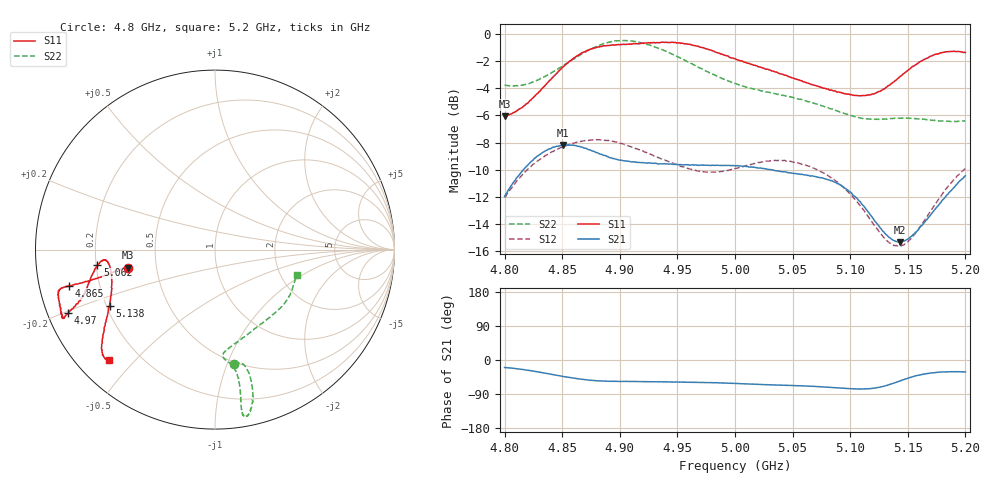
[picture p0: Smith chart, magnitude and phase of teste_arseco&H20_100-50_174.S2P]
! Network Analyzer HP8722D
! Hewlett-Packard
! Data name: Linha & Wilkinson
! Saver's name: Rodrigo Anjos
! Comments: Teste da utilização de aquisição
! continua pelo VNA HP8722D
! Time and date: 6/5/2025 14:01
!  Frequency  S11  S21  S12  S22
# HZ  S  MA R 50
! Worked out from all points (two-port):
!   401 points, 4.8 GHz to 5.2 GHz, reference 50 ohm
!   highest |S21| = -8.17 dB at 4.851 GHz (marker M1); lowest = -15.3 dB at 5.143 GHz (marker M2)
!   |S21| within 3 dB of the highest: 4.806 GHz to 5.092 GHz (286.5 MHz wide, 5.79 % of centre); 5.191477 GHz to end of sweep
!   lowest |S11| = -6.1 dB at 4.8 GHz (marker M3), VSWR 2.98, Z = 16.9 - j4.54 ohm
!   |S11| at or under -10 dB: nowhere
!   |S22| runs from -6.5 to -0.5 dB; largest |S21 - S12| = 0.62
!   S11 on the Smith chart (normalised r, x): 4.8 GHz: 0.34, -0.09; 4.865 GHz: 0.09, -0.12; 4.97 GHz: 0.06, -0.21; 5.062 GHz: 0.20, -0.06; 5.138 GHz: 0.21, -0.24; 5.2 GHz: 0.09, -0.42
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4.8e9  0.4972 -168.3  0.2529 -19.8  0.2497 -141.0  0.6471 -80.4
4.823e9  0.5719 -167.6  0.3388 -28.4  0.3254 -144.0  0.6601 -76.0
4.851e9  0.7575 -166.0  0.3905 -43.6  0.3841 -149.5  0.7657 -74.6
4.865e9  0.8396 -166.1  0.3851 -50.1  0.4008 -151.9  0.8337 -75.3
4.867e9  0.8515 -165.9  0.3831 -51.1  0.4028 -152.2  0.8436 -75.5
4.881e9  0.8959 -165.5  0.3644 -54.9  0.4081 -154.6  0.9028 -77.0
4.899e9  0.9132 -163.0  0.3436 -56.6  0.3978 -156.8  0.943 -79.1
4.934e9  0.9284 -156.7  0.3323 -57.6  0.3498 -155.7  0.8823 -80.5
4.97e9  0.8928 -156.6  0.3293 -59.2  0.312 -147.1  0.7469 -79.8
5e9  0.8106 -159.2  0.3274 -61.8  0.3197 -137.4  0.6565 -81.3
5.036e9  0.7241 -165.8  0.3134 -66.0  0.3419 -134.6  0.6007 -85.7
5.062e9  0.6612 -172.4  0.3021 -68.6  0.3281 -136.4  0.566 -83.7
5.067e9  0.6504 -173.1  0.3006 -69.3  0.3223 -136.9  0.5583 -82.6
5.084e9  0.6207 -174.8  0.2886 -72.4  0.2945 -138.5  0.5288 -76.3
5.101e9  0.5974 -172.1  0.2604 -75.8  0.2549 -138.9  0.5002 -66.6
5.116e9  0.5965 -165.6  0.2205 -75.9  0.2117 -135.4  0.4859 -55.7
5.134e9  0.6468 -154.2  0.1781 -65.3  0.1703 -120.5  0.4872 -43.3
5.138e9  0.6658 -151.9  0.1736 -60.9  0.1667 -115.5  0.4885 -40.7
5.143e9  0.6949 -149.3  0.1712 -55.6  0.1658 -108.8  0.4892 -38.0
5.154e9  0.7584 -144.6  0.1815 -44.4  0.1792 -95.0  0.4884 -32.3
5.172e9  0.8351 -139.1  0.2214 -33.7  0.2303 -81.2  0.48 -24.6
5.2e9  0.8537 -133.8  0.3008 -31.5  0.3196 -77.1  0.4779 -17.5
